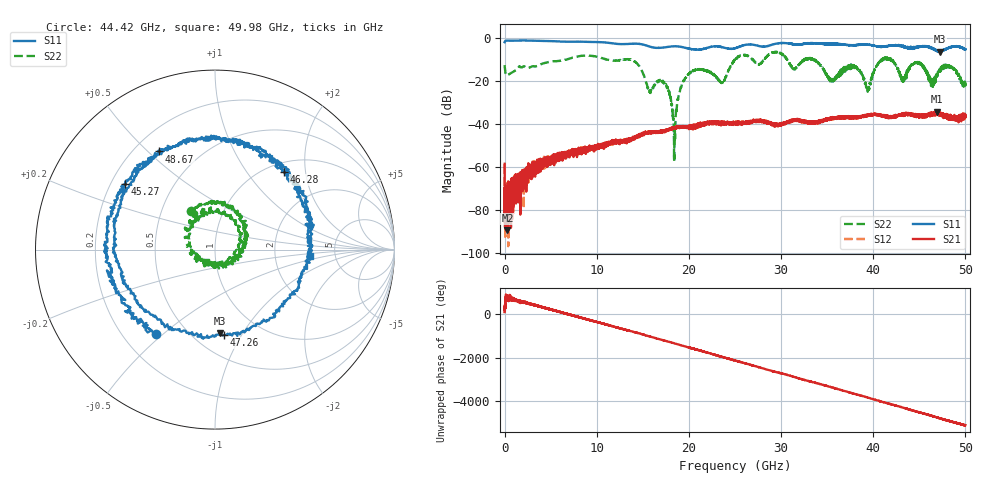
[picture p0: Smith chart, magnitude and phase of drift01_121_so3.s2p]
!Created with skrf (http://scikit-rf.org).
# Hz S RI R 50.0
!freq ReS11 ImS11 ReS21 ImS21 ReS12 ImS12 ReS22 ImS22
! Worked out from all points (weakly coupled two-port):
!   10001 points, 300 kHz to 50 GHz, reference 50 ohm
!   highest |S21| = -34.39 dB at 46.92 GHz (marker M1); lowest = -89.3 dB at 305.3 MHz (marker M2)
!   lowest |S11| = -6.6 dB at 47.28 GHz (marker M3), VSWR 2.76, Z = 33.6 - j40.2 ohm
!   |S11| at or under -10 dB: nowhere
!   |S22| runs from -57.6 to -6.7 dB; largest |S21 - S12| = 0.0037
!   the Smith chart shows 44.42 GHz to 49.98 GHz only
!   S11 on the Smith chart (normalised r, x): 44.42 GHz: 0.34, -0.48; 45.27 GHz: 0.26, +0.31; 46.28 GHz: 1.18, +1.53; 47.26 GHz: 0.69, -0.84; 48.67 GHz: 0.30, +0.54; 49.98 GHz: 3.22, -0.30
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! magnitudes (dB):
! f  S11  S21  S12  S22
! 300 kHz  -2.1  -58.5  -59.0  -12.8
! 305.3 MHz  -1.4  -89.3  -68.5  -17.5
! 8.335 GHz  -1.9  -51.6  -53.1  -8.5
! 16.67 GHz  -4.8  -44.0  -43.8  -20.0
! 17.74 GHz  -4.3  -42.9  -42.7  -24.3
! 18.44 GHz  -4.1  -41.7  -41.7  -45.7
! 19.95 GHz  -5.1  -41.6  -41.6  -17.1
! 23.62 GHz  -4.5  -40.2  -39.5  -20.9
! 25 GHz  -5.0  -39.2  -39.6  -10.3
! 33.34 GHz  -2.6  -39.4  -39.2  -10.0
! 39.44 GHz  -3.3  -35.7  -36.0  -24.0
! 41.67 GHz  -3.9  -36.8  -36.6  -10.3
! 43.19 GHz  -4.1  -35.7  -35.5  -19.2
! 44.42 GHz  -4.8  -36.4  -36.2  -11.9
! 45.27 GHz  -4.1  -35.9  -36.4  -12.3
! 46.28 GHz  -4.8  -35.6  -35.6  -22.4
! 46.92 GHz  -6.2  -34.4  -35.1  -17.9
! 47.26 GHz  -6.4  -35.7  -35.3  -15.8
! 47.28 GHz  -6.6  -34.8  -35.8  -15.6
! 48.67 GHz  -4.0  -36.8  -36.9  -14.1
! 49.98 GHz  -5.5  -36.6  -36.7  -21.3
! 50 GHz  -5.5  -36.4  -36.6  -22.2
